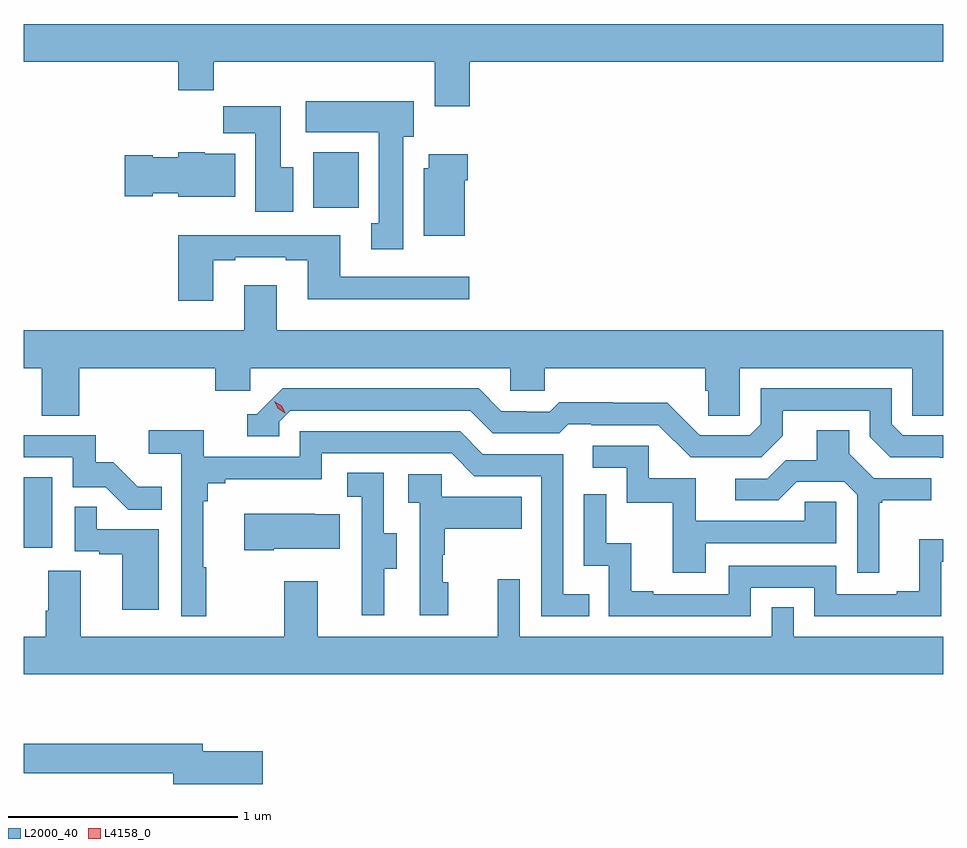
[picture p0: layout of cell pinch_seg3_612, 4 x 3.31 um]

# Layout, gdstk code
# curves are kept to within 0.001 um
import gdstk
lib = gdstk.Library(unit=1e-6, precision=1e-09)
def R(c, l, rs):  # rectangles x0, y0, x1, y1
    for r in rs: c.add(gdstk.rectangle(r[:2], r[2:], *l))
def P(c, l, *ps):  # polygons
    for p in ps: c.add(gdstk.Polygon(p, *l))
L2000_40 = (2000, 40)
L4158_0 = (4158, 0)

pinch_seg3_612 = lib.new_cell('pinch_seg3_612')
R(pinch_seg3_612, L2000_40, [(1065.569,668.166,1065.694,668.473), (1066.829,669.644,1067.026,669.886)])
P(pinch_seg3_612, L2000_40, [(1067.51,670.28),(1069.569,670.28),(1069.569,670.444),(1065.569,670.444),(1065.569,670.28),(1066.241,670.28),(1066.241,670.156),(1066.397,670.156),(1066.397,670.28),(1067.357,670.28),(1067.357,670.086),(1067.51,670.086)],
  [(1067.221,669.954),(1067.266,669.954),(1067.266,670.108),(1066.797,670.108),(1066.797,669.974),(1067.114,669.974),(1067.114,669.578),(1067.081,669.578),(1067.081,669.465),(1067.221,669.465)],
  [(1066.741,669.82),(1066.687,669.82),(1066.687,670.087),(1066.438,670.087),(1066.438,669.968),(1066.577,669.968),(1066.577,669.627),(1066.741,669.627)],
  [(1066.489,669.88),(1066.356,669.88),(1066.356,669.886),(1066.242,669.886),(1066.242,669.865),(1066.131,669.865),(1066.131,669.873),(1066.008,669.873),(1066.008,669.695),(1066.131,669.695),(1066.131,669.707),(1066.242,669.707),(1066.242,669.692),(1066.489,669.692)],
  [(1067.488,669.764),(1067.501,669.764),(1067.501,669.877),(1067.33,669.877),(1067.33,669.816),(1067.309,669.816),(1067.309,669.524),(1067.488,669.524)],
  [(1066.393,669.417),(1066.489,669.417),(1066.489,669.429),(1066.709,669.429),(1066.709,669.417),(1066.805,669.417),(1066.805,669.248),(1067.506,669.248),(1067.506,669.345),(1066.945,669.345),(1066.945,669.525),(1066.481,669.525),(1066.481,669.526),(1066.241,669.526),(1066.241,669.24),(1066.393,669.24)],
  [(1065.812,668.948),(1066.403,668.948),(1066.403,668.85),(1066.554,668.85),(1066.554,668.948),(1067.685,668.948),(1067.685,668.85),(1067.835,668.85),(1067.835,668.948),(1068.533,668.948),(1068.533,668.85),(1068.547,668.85),(1068.547,668.74),(1068.684,668.74),(1068.684,668.948),(1069.434,668.948),(1069.434,668.74),(1069.569,668.74),(1069.569,669.112),(1066.669,669.112),(1066.669,669.307),(1066.529,669.307),(1066.529,669.112),(1065.569,669.112),(1065.569,668.948),(1065.647,668.948),(1065.647,668.74),(1065.812,668.74)],
  [(1069.569,668.655),(1069.392,668.655),(1069.344,668.703),(1069.344,668.859),(1068.774,668.859),(1068.774,668.703),(1068.726,668.655),(1068.51,668.655),(1068.368,668.797),(1068.132,668.797),(1068.132,668.8),(1067.899,668.8),(1067.857,668.757),(1067.754,668.757),(1067.754,668.76),(1067.647,668.76),(1067.548,668.859),(1066.695,668.859),(1066.584,668.748),(1066.541,668.748),(1066.541,668.652),(1066.68,668.652),(1066.68,668.715),(1066.728,668.763),(1067.511,668.763),(1067.61,668.664),(1067.899,668.664),(1067.938,668.703),(1068.037,668.703),(1068.037,668.7),(1068.33,668.7),(1068.471,668.559),(1068.777,668.559),(1068.871,668.653),(1068.871,668.763),(1069.248,668.763),(1069.248,668.649),(1069.338,668.559),(1069.569,668.558)],
  [(1066.363,668.081),(1066.351,668.081),(1066.351,668.369),(1066.37,668.369),(1066.37,668.446),(1066.447,668.446),(1066.447,668.465),(1066.866,668.465),(1066.866,668.577),(1067.43,668.577),(1067.529,668.478),(1067.82,668.478),(1067.82,667.869),(1068.029,667.869),(1068.029,667.965),(1067.916,667.965),(1067.916,668.574),(1067.566,668.574),(1067.467,668.673),(1066.77,668.673),(1066.77,668.562),(1066.352,668.562),(1066.352,668.678),(1066.113,668.678),(1066.113,668.576),(1066.254,668.576),(1066.254,667.869),(1066.363,667.869)],
  [(1069.291,668.361),(1069.303,668.361),(1069.303,668.372),(1069.516,668.372),(1069.516,668.469),(1069.266,668.469),(1069.159,668.576),(1069.159,668.678),(1069.019,668.678),(1069.019,668.546),(1068.884,668.546),(1068.804,668.466),(1068.663,668.466),(1068.663,668.373),(1068.85,668.373),(1068.931,668.454),(1069.137,668.454),(1069.194,668.397),(1069.194,668.058),(1069.291,668.058)],
  [(1066.169,668.431),(1066.065,668.431),(1065.958,668.538),(1065.882,668.538),(1065.882,668.655),(1065.569,668.655),(1065.569,668.559),(1065.783,668.559),(1065.783,668.43),(1065.927,668.43),(1066.025,668.332),(1066.169,668.332)],
  [(1068.535,668.187),(1069.104,668.187),(1069.104,668.367),(1068.967,668.367),(1068.967,668.283),(1068.493,668.283),(1068.493,668.469),(1068.288,668.469),(1068.288,668.61),(1068.045,668.61),(1068.045,668.514),(1068.192,668.514),(1068.192,668.361),(1068.391,668.361),(1068.391,668.058),(1068.535,668.058)],
  [(1067.137,668.074),(1067.191,668.074),(1067.191,668.229),(1067.136,668.229),(1067.136,668.492),(1066.977,668.492),(1066.977,668.389),(1067.04,668.389),(1067.04,668.085),(1067.039,668.085),(1067.039,667.872),(1067.137,667.872)],
  [(1067.416,668.016),(1067.391,668.016),(1067.391,668.135),(1067.401,668.135),(1067.401,668.249),(1067.735,668.249),(1067.735,668.389),(1067.388,668.389),(1067.388,668.487),(1067.241,668.487),(1067.241,668.363),(1067.292,668.363),(1067.292,667.872),(1067.416,667.872)],
  [(1068.732,667.992),(1069.008,667.992),(1069.008,667.869),(1069.56,667.869),(1069.56,668.105),(1069.569,668.105),(1069.569,668.203),(1069.463,668.203),(1069.463,667.978),(1069.367,667.978),(1069.367,667.965),(1069.104,667.965),(1069.104,668.088),(1068.636,668.088),(1068.636,667.965),(1068.307,667.965),(1068.307,667.978),(1068.212,667.978),(1068.212,668.186),(1068.102,668.186),(1068.102,668.398),(1068.006,668.398),(1068.006,668.088),(1068.114,668.088),(1068.114,667.869),(1068.732,667.869)],
  [(1066.156,668.247),(1065.887,668.247),(1065.887,668.345),(1065.792,668.345),(1065.792,668.151),(1065.899,668.151),(1065.899,668.139),(1065.998,668.139),(1065.998,667.896),(1066.156,667.896)],
  [(1066.657,668.162),(1066.943,668.162),(1066.943,668.311),(1066.835,668.311),(1066.835,668.314),(1066.529,668.314),(1066.529,668.155),(1066.657,668.155)],
  [(1069.569,667.78),(1068.918,667.78),(1068.918,667.907),(1068.822,667.907),(1068.822,667.78),(1067.727,667.78),(1067.727,668.029),(1067.63,668.029),(1067.63,667.78),(1066.849,667.78),(1066.849,668.02),(1066.702,668.02),(1066.702,667.78),(1065.817,667.78),(1065.817,668.066),(1065.677,668.066),(1065.677,667.892),(1065.665,667.892),(1065.665,667.78),(1065.569,667.78),(1065.569,667.616),(1069.569,667.616)],
  [(1066.609,667.281),(1066.348,667.281),(1066.348,667.315),(1065.569,667.315),(1065.569,667.186),(1066.22,667.186),(1066.22,667.139),(1066.609,667.139)])
P(pinch_seg3_612, L4158_0, [(1066.706,668.752),(1066.676,668.771),(1066.66,668.804),(1066.66,668.804),(1066.66,668.804),(1066.691,668.784),(1066.707,668.752),(1066.707,668.752)])

lib.write_gds('pinch_seg3_612.gds')
